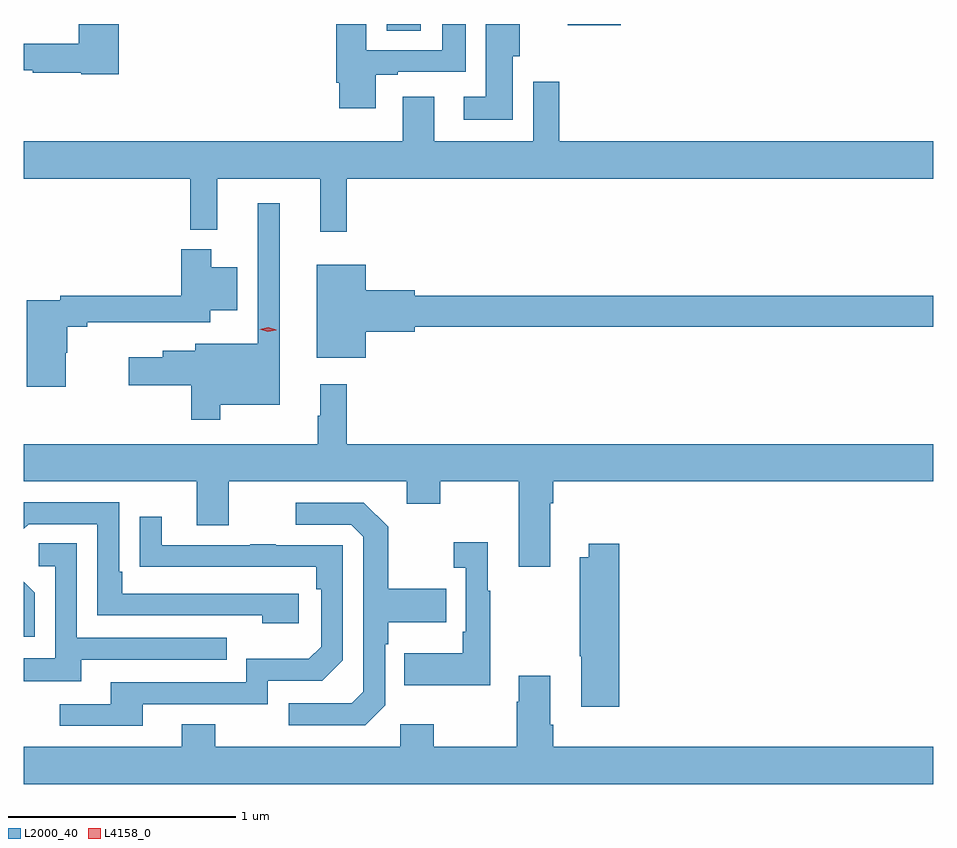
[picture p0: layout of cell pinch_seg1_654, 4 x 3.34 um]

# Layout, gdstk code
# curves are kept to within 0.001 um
import gdstk
lib = gdstk.Library(unit=1e-6, precision=1e-09)
def R(c, l, rs):  # rectangles x0, y0, x1, y1
    for r in rs: c.add(gdstk.rectangle(r[:2], r[2:], *l))
def P(c, l, *ps):  # polygons
    for p in ps: c.add(gdstk.Polygon(p, *l))
L2000_40 = (2000, 40)
L4158_0 = (4158, 0)

pinch_seg1_654 = lib.new_cell('pinch_seg1_654')
R(pinch_seg1_654, L2000_40, [(828.476,580.354,828.625,580.384), (829.272,580.379,829.505,580.384)])
P(pinch_seg1_654, L2000_40, [(827.297,580.384),(827.119,580.384),(827.119,580.298),(826.879,580.298),(826.879,580.181),(826.918,580.181),(826.918,580.17),(827.13,580.17),(827.13,580.162),(827.297,580.162)],
  [(828.427,580.161),(828.523,580.161),(828.523,580.173),(828.823,580.173),(828.823,580.384),(828.719,580.384),(828.719,580.269),(828.385,580.269),(828.385,580.384),(828.254,580.384),(828.254,580.126),(828.266,580.126),(828.266,580.014),(828.427,580.014)],
  [(829.03,580.242),(829.061,580.242),(829.061,580.384),(828.915,580.384),(828.915,580.382),(828.911,580.382),(828.911,580.063),(828.813,580.063),(828.813,579.962),(829.03,579.962)],
  [(828.299,579.704),(830.879,579.704),(830.879,579.868),(829.235,579.868),(829.235,580.129),(829.119,580.129),(829.119,579.868),(828.685,579.868),(828.685,580.063),(828.545,580.063),(828.545,579.868),(826.879,579.868),(826.879,579.704),(827.611,579.704),(827.611,579.479),(827.729,579.479),(827.729,579.704),(828.182,579.704),(828.182,579.471),(828.299,579.471)],
  [(827.743,578.708),(828.004,578.708),(828.004,579.595),(827.907,579.595),(827.907,578.977),(827.633,578.977),(827.633,578.947),(827.489,578.947),(827.489,578.917),(827.34,578.917),(827.34,578.795),(827.614,578.795),(827.614,578.643),(827.743,578.643)],
  [(827.062,578.937),(827.07,578.937),(827.07,579.052),(827.158,579.052),(827.158,579.071),(827.352,579.071),(827.352,579.072),(827.698,579.072),(827.698,579.125),(827.818,579.125),(827.818,579.313),(827.704,579.313),(827.704,579.394),(827.57,579.394),(827.57,579.188),(827.038,579.188),(827.038,579.168),(826.892,579.168),(826.892,578.787),(827.062,578.787)],
  [(828.382,579.029),(828.598,579.029),(828.598,579.052),(830.879,579.052),(830.879,579.188),(828.598,579.188),(828.598,579.212),(828.382,579.212),(828.382,579.325),(828.167,579.325),(828.167,578.915),(828.382,578.915)],
  [(829.195,578.276),(829.208,578.276),(829.208,578.372),(830.879,578.372),(830.879,578.536),(828.299,578.536),(828.299,578.8),(828.182,578.8),(828.182,578.66),(828.171,578.66),(828.171,578.536),(826.879,578.536),(826.879,578.372),(827.639,578.372),(827.639,578.178),(827.779,578.178),(827.779,578.372),(828.563,578.372),(828.563,578.273),(828.711,578.273),(828.711,578.372),(829.055,578.372),(829.055,577.995),(829.195,577.995)],
  [(828.088,577.878),(827.311,577.878),(827.311,577.975),(827.298,577.975),(827.298,578.28),(826.879,578.28),(826.879,578.164),(826.899,578.184),(827.202,578.184),(827.202,577.782),(827.927,577.782),(827.927,577.748),(828.088,577.748)],
  [(828.468,577.386),(828.468,577.655),(828.481,577.655),(828.481,577.751),(828.737,577.751),(828.737,577.899),(828.481,577.899),(828.481,578.171),(828.375,578.277),(828.075,578.277),(828.075,578.181),(828.318,578.181),(828.372,578.127),(828.372,577.446),(828.321,577.395),(828.045,577.395),(828.045,577.299),(828.381,577.299)],
  [(827.401,577.392),(827.952,577.392),(827.952,577.494),(828.192,577.494),(828.282,577.584),(828.282,578.091),(827.987,578.091),(827.987,578.096),(827.875,578.096),(827.875,578.091),(827.485,578.091),(827.485,578.215),(827.389,578.215),(827.389,577.996),(828.166,577.995),(828.166,577.898),(828.186,577.898),(828.186,577.644),(828.133,577.591),(827.856,577.591),(827.856,577.488),(827.261,577.488),(827.261,577.392),(827.037,577.392),(827.037,577.296),(827.401,577.296)],
  [(828.931,577.891),(828.919,577.891),(828.919,578.104),(828.771,578.104),(828.771,577.991),(828.822,577.991),(828.822,577.711),(828.81,577.711),(828.81,577.615),(828.553,577.615),(828.553,577.475),(828.931,577.475)],
  [(827.131,577.587),(827.771,577.587),(827.771,577.683),(827.112,577.683),(827.112,578.099),(826.944,578.099),(826.944,577.998),(827.016,577.998),(827.016,577.593),(826.879,577.593),(826.879,577.493),(827.131,577.493)],
  [(829.499,578.098),(829.364,578.098),(829.364,578.038),(829.324,578.038),(829.324,577.603),(829.331,577.603),(829.331,577.38),(829.499,577.38)],
  [(826.926,577.882),(826.879,577.929),(826.879,577.689),(826.926,577.689)],
  [(830.879,577.204),(829.208,577.204),(829.208,577.3),(829.195,577.3),(829.195,577.516),(829.055,577.516),(829.055,577.403),(829.048,577.403),(829.048,577.204),(828.681,577.204),(828.681,577.303),(828.534,577.303),(828.534,577.204),(827.721,577.204),(827.721,577.303),(827.573,577.303),(827.573,577.204),(826.879,577.204),(826.879,577.04),(830.879,577.04)])
P(pinch_seg1_654, L4158_0, [(827.952,579.03),(827.917,579.042),(827.917,579.042),(827.917,579.042),(827.954,579.05),(827.988,579.038),(827.989,579.037),(827.988,579.037)])

lib.write_gds('pinch_seg1_654.gds')
